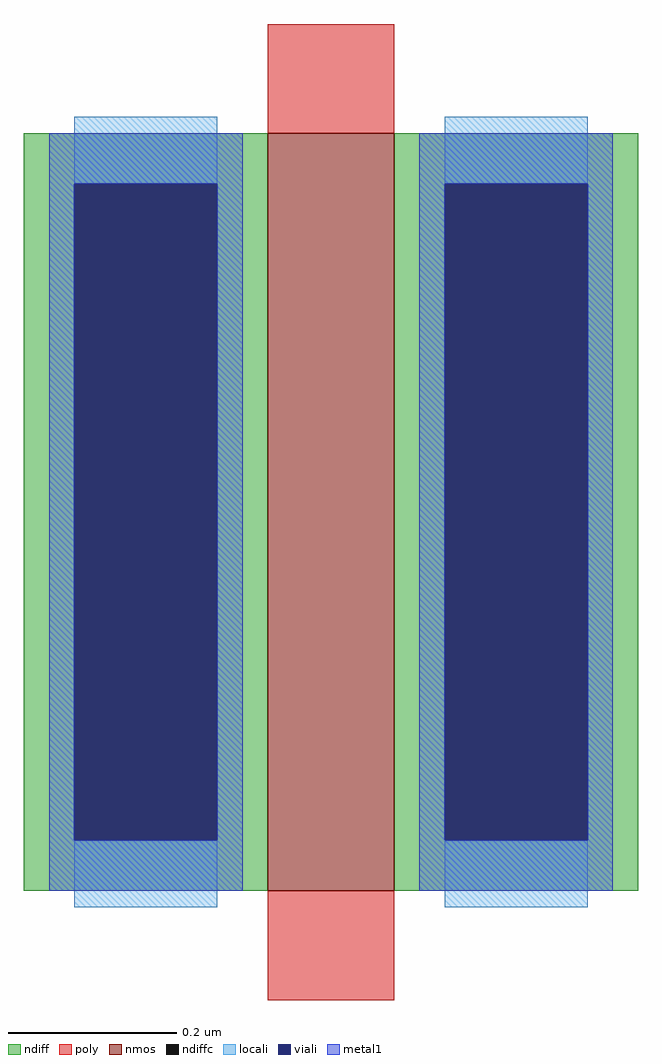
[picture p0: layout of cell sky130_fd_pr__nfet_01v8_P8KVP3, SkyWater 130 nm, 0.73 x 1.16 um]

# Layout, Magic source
magic
tech sky130A
magscale 1 2
<< nmos >>
rect -15 -90 15 90
<< ndiff >>
rect -73 78 -15 90
rect -73 -78 -61 78
rect -27 -78 -15 78
rect -73 -90 -15 -78
rect 15 78 73 90
rect 15 -78 27 78
rect 61 -78 73 78
rect 15 -90 73 -78
<< ndiffc >>
rect -61 -78 -27 78
rect 27 -78 61 78
<< poly >>
rect -15 90 15 116
rect -15 -116 15 -90
<< locali >>
rect -61 78 -27 94
rect -61 -94 -27 -78
rect 27 78 61 94
rect 27 -94 61 -78
<< viali >>
rect -61 -78 -27 78
rect 27 -78 61 78
<< metal1 >>
rect -67 78 -21 90
rect -67 -78 -61 78
rect -27 -78 -21 78
rect -67 -90 -21 -78
rect 21 78 67 90
rect 21 -78 27 78
rect 61 -78 67 78
rect 21 -90 67 -78
<< properties >>
string gencell sky130_fd_pr__nfet_01v8
string parameters w 0.9 l 0.150 m 1 nf 1 diffcov 100 polycov 100 guard 0 glc 0 grc 0 gtc 0 gbc 0 tbcov 100 rlcov 100 topc 0 botc 0 poverlap 0 doverlap 1 lmin 0.15 wmin 0.42 compatible {sky130_fd_pr__nfet_01v8 sky130_fd_pr__nfet_01v8_lvt  sky130_fd_bs_flash__special_sonosfet_star  sky130_fd_pr__nfet_g5v0d10v5 sky130_fd_pr__nfet_05v0_nvt} full_metal 0 viasrc 100 viadrn 100 viagate 100 viagb 0 viagr 0 viagl 0 viagt 0
string library sky130
<< end >>
